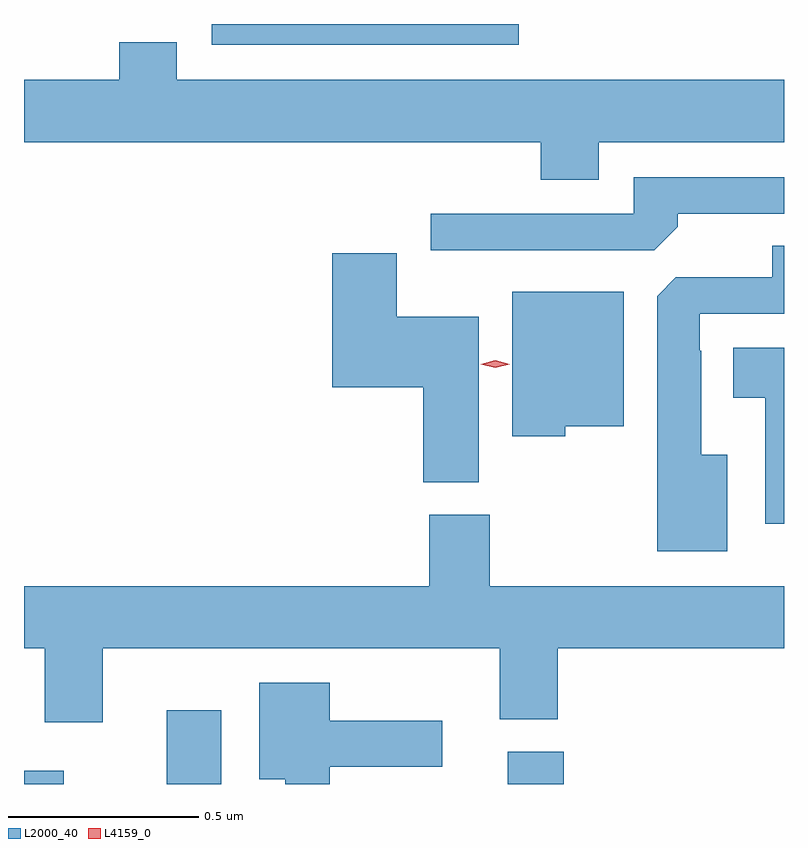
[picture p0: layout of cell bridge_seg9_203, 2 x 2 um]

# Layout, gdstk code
import gdstk
lib = gdstk.Library(unit=1e-6, precision=1e-09)
def R(c, l, rs):  # rectangles x0, y0, x1, y1
    for r in rs: c.add(gdstk.rectangle(r[:2], r[2:], *l))
def P(c, l, *ps):  # polygons
    for p in ps: c.add(gdstk.Polygon(p, *l))
L2000_40 = (2000, 40)
L4159_0 = (4159, 0)

bridge_seg9_203 = lib.new_cell('bridge_seg9_203')
R(bridge_seg9_203, L2000_40, [(168.517,1193.399,168.622,1193.434), (168.893,1193.399,169.036,1193.593), (169.79,1193.399,169.937,1193.484), (169.011,1195.344,169.819,1195.399)])
P(bridge_seg9_203, L2000_40, [(170.029,1195.088),(170.517,1195.088),(170.517,1195.252),(168.919,1195.252),(168.919,1195.351),(168.767,1195.351),(168.767,1195.252),(168.517,1195.252),(168.517,1195.088),(169.877,1195.088),(169.877,1194.989),(170.029,1194.989)],
  [(170.237,1194.866),(170.237,1194.9),(170.517,1194.9),(170.517,1194.996),(170.121,1194.996),(170.121,1194.9),(169.587,1194.9),(169.587,1194.804),(170.175,1194.804)],
  [(170.368,1194.265),(170.299,1194.265),(170.299,1194.539),(170.295,1194.539),(170.295,1194.636),(170.517,1194.636),(170.517,1194.815),(170.486,1194.815),(170.486,1194.732),(170.232,1194.732),(170.183,1194.683),(170.183,1194.011),(170.368,1194.011)],
  [(169.714,1194.628),(169.498,1194.628),(169.498,1194.796),(169.328,1194.796),(169.328,1194.443),(169.568,1194.443),(169.568,1194.193),(169.714,1194.193)],
  [(169.941,1194.341),(170.095,1194.341),(170.095,1194.694),(169.802,1194.694),(169.802,1194.314),(169.941,1194.314)],
  [(170.517,1194.547),(170.384,1194.547),(170.384,1194.416),(170.468,1194.416),(170.468,1194.084),(170.517,1194.084)],
  [(168.724,1193.756),(169.769,1193.756),(169.769,1193.569),(169.922,1193.569),(169.922,1193.756),(170.517,1193.756),(170.517,1193.92),(169.743,1193.92),(169.743,1194.108),(169.583,1194.108),(169.583,1193.92),(168.517,1193.92),(168.517,1193.756),(168.572,1193.756),(168.572,1193.562),(168.724,1193.562)],
  [(169.321,1193.444),(169.618,1193.444),(169.618,1193.566),(169.321,1193.566),(169.321,1193.665),(169.136,1193.665),(169.136,1193.411),(169.205,1193.411),(169.205,1193.399),(169.321,1193.399)])
P(bridge_seg9_203, L4159_0, [(169.757,1194.494),(169.719,1194.504),(169.719,1194.504),(169.719,1194.504),(169.757,1194.514),(169.795,1194.504),(169.795,1194.504),(169.795,1194.503)])

lib.write_gds('bridge_seg9_203.gds')
